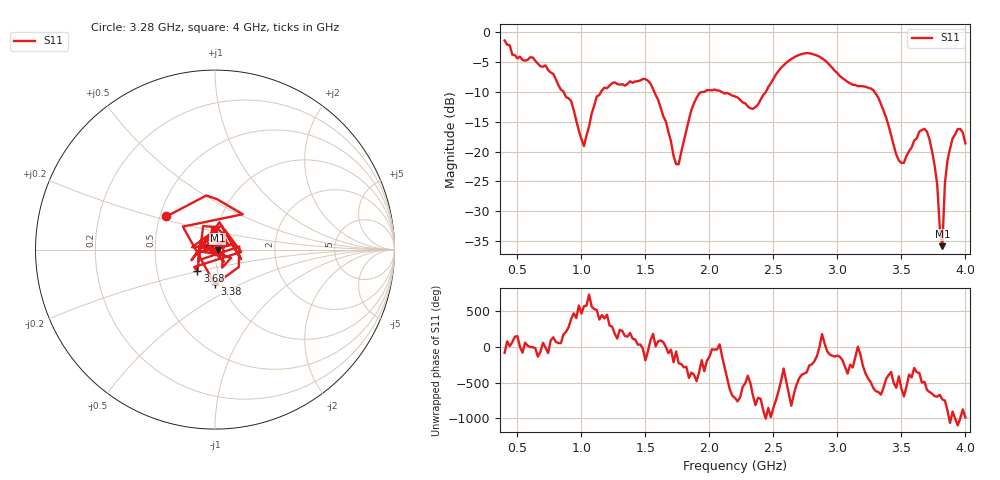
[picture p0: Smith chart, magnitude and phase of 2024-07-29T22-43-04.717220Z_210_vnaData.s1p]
!Created with skrf (http://scikit-rf.org).
# Hz S RI R 50.0
!freq ReS11 ImS11
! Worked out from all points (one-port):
!   181 points, 400 MHz to 4 GHz, reference 50 ohm
!   lowest |S11| = -35.9 dB at 3.82 GHz (marker M1), VSWR 1.03, Z = 51.6 - j0.469 ohm
!   |S11| at or under -10 dB: 1.57 GHz to 1.961 GHz (391 MHz wide, 22.1 % of centre); 2.095 GHz to 2.442 GHz (346.7 MHz wide, 15.3 % of centre); 3.29 GHz to end of sweep (the widest 3 of 4)
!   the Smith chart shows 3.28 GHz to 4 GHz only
!   S11 on the Smith chart (normalised r, x): 3.28 GHz: 0.54, +0.22; 3.38 GHz: 0.93, -0.37; 3.68 GHz: 0.80, -0.20; 4 GHz: 0.97, +0.23
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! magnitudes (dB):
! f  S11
! 400 MHz  -1.4
! 500 MHz  -4.4
! 720 MHz  -5.6
! 860 MHz  -10.0
! 920 MHz  -11.5
! 1.02 GHz  -19.1
! 1.12 GHz  -10.8
! 1.3 GHz  -8.8
! 1.54 GHz  -8.6
! 1.76 GHz  -22.1
! 1.86 GHz  -13.0
! 1.92 GHz  -10.3
! 2.2 GHz  -10.8
! 2.34 GHz  -12.8
! 2.66 GHz  -4.2
! 2.84 GHz  -3.9
! 3.1 GHz  -8.6
! 3.28 GHz  -9.7
! 3.38 GHz  -14.3
! 3.48 GHz  -21.5
! 3.56 GHz  -19.9
! 3.68 GHz  -16.2
! 3.76 GHz  -22.4
! 3.82 GHz  -35.9
! 3.84 GHz  -25.3
! 3.88 GHz  -19.5
! 3.94 GHz  -16.2
! 4 GHz  -18.6
